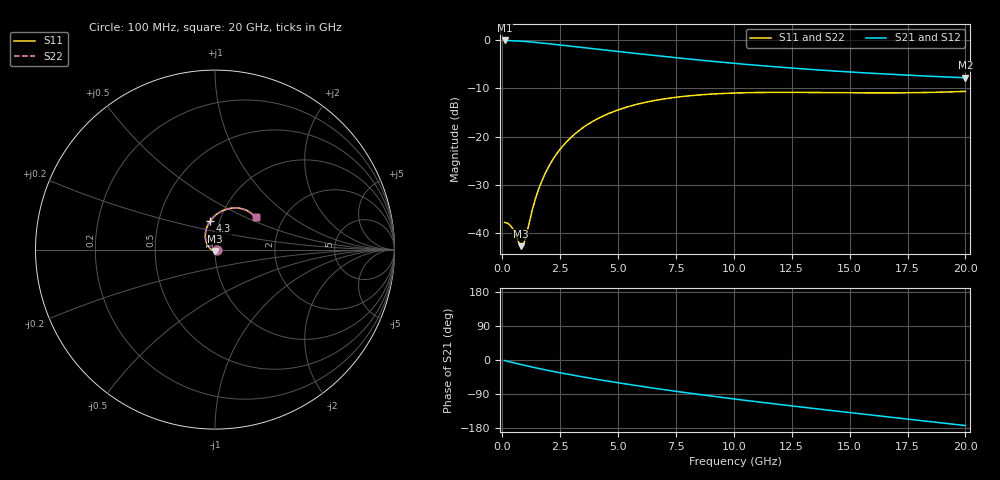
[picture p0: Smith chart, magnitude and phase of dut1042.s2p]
! Touchstone file exported from HFSS 2024.1.0
!  File:  C:/UserFiles/LocalFiles/RDL_TSV_Batchsim/temp_RDL_TSV_1042_1780085946.aedt
!  Generated:  04:33:10 AM May 30, 2026
!  Design:  RDL_TSV
!  Project:  temp_RDL_TSV_1042_1780085946
!  Setup:  Setup1
!  Solution:  Sweep
! Variables:
!  dtsv = 9.57um
!  hbump = 3um
!  htsv = 87um
!  ldown = 101.69um
!  lrdl = 479.41um
!  p = 40
!  p1 = 40.7um
!  rhole = 10um
!  subl = 2222.71um
!  t = 450um
!  tdown = 4.57um
!  trdl = 3.56um
!  viad = 10um
!  wdown = 20.25um
!  wrdl = 17.4um
!  xbump = 18um
# GHz S MA R 50.000000
! Terminal data exported
! Port[1] = TM1_1_T1
! Port[2] = TM1_4_T1
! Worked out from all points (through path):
!   200 points, 100 MHz to 20 GHz, reference 50 ohm
!   highest |S21| = -0.12 dB at 100 MHz (marker M1); lowest = -7.8 dB at 20 GHz (marker M2)
!   group delay of S21, straight-line fit = 22.8 ps
!   lowest |S11| = -42.7 dB at 800 MHz (marker M3), VSWR 1.01, Z = 50.1 - j0.731 ohm
!   |S11| at or under -10 dB: start of sweep to end of sweep
!   |S22| runs from -42.7 to -10.7 dB; largest |S21 - S12| = 8.4e-15
!   S11 on the Smith chart (normalised r, x): 100 MHz: 1.03, -0.00; 4.3 GHz: 0.90, +0.29; 20 GHz: 1.46, +0.58
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0.1  0.01293 -4.1  0.9866 -1.5  0.9866 -1.5  0.01293 -4.1
! Gamma 0 0 0 0
! Port Impedance 50 0 50 0
0.3  0.01235 -15.5  0.9837 -4.6  0.9837 -4.6  0.01235 -15.5
0.4  0.0116 -23.1  0.9816 -6.0  0.9816 -6.0  0.01161 -23.1
0.8  0.007347 -83.3  0.97 -11.8  0.97 -11.8  0.007356 -83.1
0.9  0.007465 -109.5  0.9663 -13.3  0.9663 -13.3  0.007462 -109.2
1  0.008766 -133.8  0.9623 -14.7  0.9623 -14.7  0.008747 -133.5
1.3  0.01757 -175.4  0.949 -18.8  0.949 -18.8  0.0175 -175.2
1.5  0.02551 170.7  0.9392 -21.4  0.9392 -21.4  0.02541 170.7
1.7  0.03433 160.6  0.9288 -24.0  0.9288 -24.0  0.03422 160.7
2  0.04865 149.1  0.9127 -27.8  0.9127 -27.8  0.04849 149.1
2.3  0.06373 139.9  0.8962 -31.4  0.8962 -31.4  0.06352 139.9
2.7  0.08429 129.5  0.8743 -36.1  0.8743 -36.1  0.08402 129.5
3.5  0.1245 113.0  0.8316 -44.9  0.8316 -44.9  0.1241 113.0
4.3  0.1609 99.9  0.7914 -53.2  0.7914 -53.2  0.1604 99.8
5.4  0.2026 85.5  0.7401 -63.9  0.7401 -63.9  0.2019 85.4
6.8  0.2412 71.3  0.681 -76.6  0.681 -76.6  0.2403 71.3
8.4  0.2683 59.2  0.6222 -90.1  0.6222 -90.1  0.2672 59.2
10.1  0.2823 50.0  0.5696 -103.5  0.5696 -103.5  0.2811 49.9
11.7  0.2865 43.9  0.5288 -115.4  0.5288 -115.4  0.2852 43.9
13.4  0.2858 39.8  0.4933 -127.6  0.4933 -127.6  0.2845 39.8
16.7  0.283 37.2  0.4418 -150.5  0.4418 -150.5  0.2816 37.2
20  0.2933 38.5  0.4053 -173.0  0.4053 -173.0  0.2921 38.6
